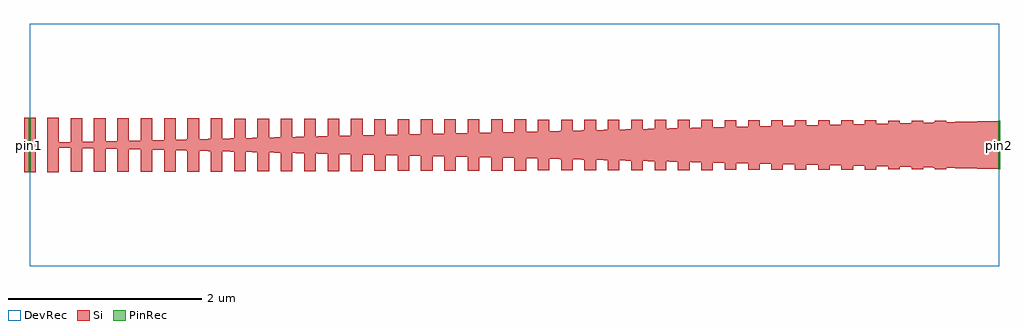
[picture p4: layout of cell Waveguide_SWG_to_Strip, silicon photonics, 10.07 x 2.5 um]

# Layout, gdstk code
import gdstk
lib = gdstk.Library(unit=1e-6, precision=1e-09)
def R(c, l, rs):  # rectangles x0, y0, x1, y1
    for r in rs: c.add(gdstk.rectangle(r[:2], r[2:], *l))
def P(c, l, *ps):  # polygons
    for p in ps: c.add(gdstk.Polygon(p, *l))
Si = (1, 0)
PinRec = (1, 10)
DevRec = (68, 0)

waveguide_swg_to_strip = lib.new_cell('Waveguide_SWG_to_Strip')
R(waveguide_swg_to_strip, Si, [(-0.06,-0.28,0.059,0.28), (0.18,-0.279,0.3,0.279), (0.421,-0.278,0.541,0.278), (0.662,-0.277,0.782,0.277), (0.903,-0.277,1.023,0.277), (1.144,-0.276,1.264,0.276), (1.385,-0.275,1.505,0.275), (1.626,-0.274,1.746,0.274), (1.867,-0.274,1.987,0.274), (2.108,-0.273,2.228,0.273), (2.349,-0.272,2.469,0.272), (2.59,-0.271,2.71,0.271), (2.831,-0.271,2.951,0.271), (3.072,-0.27,3.192,0.27), (3.313,-0.269,3.433,0.269), (3.554,-0.268,3.674,0.268), (3.795,-0.268,3.915,0.268), (4.036,-0.267,4.156,0.267), (4.277,-0.266,4.397,0.266), (4.518,-0.265,4.638,0.265), (4.759,-0.265,4.879,0.265), (5,-0.264,5.12,0.264), (5.241,-0.263,5.361,0.263), (5.482,-0.262,5.602,0.262), (5.723,-0.262,5.843,0.262), (5.964,-0.261,6.084,0.261), (6.205,-0.26,6.325,0.26), (6.446,-0.259,6.566,0.259), (6.687,-0.259,6.807,0.259), (6.928,-0.258,7.048,0.258), (7.169,-0.257,7.289,0.257), (7.41,-0.256,7.53,0.256), (7.651,-0.256,7.771,0.256), (7.892,-0.255,8.012,0.255), (8.133,-0.254,8.253,0.254), (8.374,-0.253,8.494,0.253), (8.615,-0.253,8.735,0.253), (8.856,-0.252,8.976,0.252), (9.097,-0.251,9.217,0.251), (9.338,-0.25,9.458,0.25)])
P(waveguide_swg_to_strip, Si, [(10,-0.25),(0.25,-0.03),(0.25,0.03),(10,0.25)])
R(waveguide_swg_to_strip, DevRec, [(0,-1.25,10,1.25)])
waveguide_swg_to_strip.add(gdstk.FlexPath([(0.01,0),(-0.01,0)], 0.56, ends="flush", simple_path=True, layer=1, datatype=10))  # PinRec
waveguide_swg_to_strip.add(gdstk.FlexPath([(9.99,0),(10.01,0)], 0.5, ends="flush", simple_path=True, layer=1, datatype=10))  # PinRec
waveguide_swg_to_strip.add(gdstk.Label('pin1', (0,0), layer=1, texttype=10))
waveguide_swg_to_strip.add(gdstk.Label('pin2', (10,0), layer=1, texttype=10))

lib.write_gds('Waveguide_SWG_to_Strip.gds')
